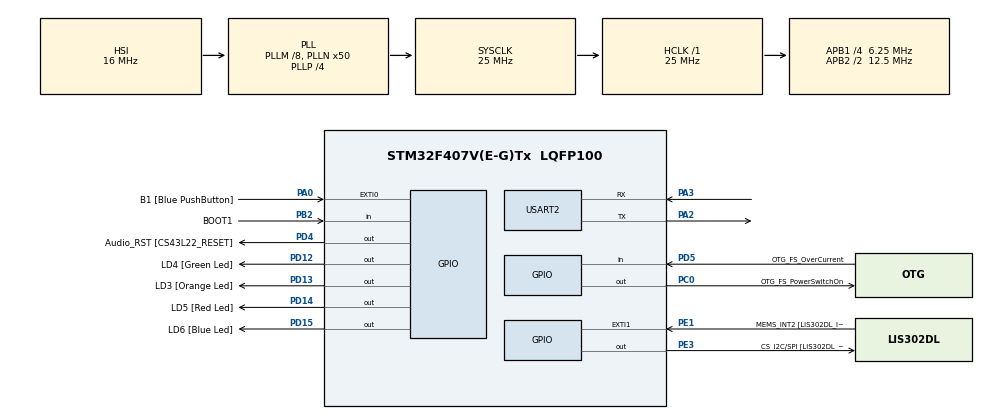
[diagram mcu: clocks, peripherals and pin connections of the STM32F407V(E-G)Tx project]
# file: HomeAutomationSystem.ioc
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Mcu.Family=STM32F4
Mcu.Name=STM32F407V(E-G)Tx
Mcu.Package=LQFP100
NVIC.PriorityGroup=NVIC_PRIORITYGROUP_4
NVIC.TIM6_DAC_IRQn=true\:15\:0\:false\:false\:true\:false\:true\:true
NVIC.TimeBase=TIM6_DAC_IRQn
NVIC.TimeBaseIP=TIM6
NVIC.USART2_IRQn=true\:0\:0\:false\:false\:true\:true\:true\:true
PA0-WKUP.GPIO_Label=B1 [Blue PushButton]
PA0-WKUP.Signal=GPXTI0
PA10.GPIO_Label=OTG_FS_ID
PA10.GPIO_Mode=GPIO_MODE_AF_PP
PA10.GPIO_PuPd=GPIO_NOPULL
PA10.GPIO_Speed=GPIO_SPEED_FREQ_LOW
PA10.Signal=USB_OTG_FS_ID
PA11.GPIO_Label=OTG_FS_DM
PA11.GPIO_Mode=GPIO_MODE_AF_PP
PA11.GPIO_PuPd=GPIO_NOPULL
PA11.GPIO_Speed=GPIO_SPEED_FREQ_LOW
PA11.Signal=USB_OTG_FS_DM
PA12.GPIO_Label=OTG_FS_DP
PA12.GPIO_Mode=GPIO_MODE_AF_PP
PA12.GPIO_PuPd=GPIO_NOPULL
PA12.GPIO_Speed=GPIO_SPEED_FREQ_LOW
PA12.Signal=USB_OTG_FS_DP
PA13.GPIO_Label=SWDIO
PA13.Signal=SYS_JTMS-SWDIO
PA14.GPIO_Label=SWCLK
PA14.Signal=SYS_JTCK-SWCLK
PA2.Mode=Asynchronous
PA2.Signal=USART2_TX
PA3.Mode=Asynchronous
PA3.Signal=USART2_RX
PA4.GPIO_Label=I2S3_WS [CS43L22_LRCK]
PA4.GPIO_Mode=GPIO_MODE_AF_PP
PA4.GPIO_PuPd=GPIO_NOPULL
PA4.GPIO_Speed=GPIO_SPEED_FREQ_LOW
PA4.Signal=I2S3_WS
PA5.GPIO_Label=SPI1_SCK [LIS302DL_SCL/SPC]
PA5.GPIO_Mode=GPIO_MODE_AF_PP
PA5.GPIO_PuPd=GPIO_NOPULL
PA5.GPIO_Speed=GPIO_SPEED_FREQ_LOW
PA5.Signal=SPI1_SCK
PA6.GPIO_Label=SPI1_MISO [LIS302DL_SDO]
PA6.GPIO_Mode=GPIO_MODE_AF_PP
PA6.GPIO_PuPd=GPIO_NOPULL
PA6.GPIO_Speed=GPIO_SPEED_FREQ_LOW
PA6.Signal=SPI1_MISO
PA7.GPIO_Label=SPI1_MOSI [LIS302DL_SDA/SDI/SDO]
PA7.GPIO_Mode=GPIO_MODE_AF_PP
PA7.GPIO_PuPd=GPIO_NOPULL
PA7.GPIO_Speed=GPIO_SPEED_FREQ_LOW
PA7.Signal=SPI1_MOSI
PA9.GPIO_Label=VBUS_FS
PA9.GPIO_Mode=GPIO_MODE_INPUT
PA9.GPIO_PuPd=GPIO_NOPULL
PA9.Signal=USB_OTG_FS_VBUS
PB10.GPIO_Label=CLK_IN [MP45DT02_CLK]
PB10.GPIO_Mode=GPIO_MODE_AF_PP
PB10.GPIO_PuPd=GPIO_NOPULL
PB10.GPIO_Speed=GPIO_SPEED_FREQ_LOW
PB10.Signal=I2S2_CK
PB2.GPIO_Label=BOOT1
PB2.GPIO_Mode=GPIO_MODE_INPUT
PB2.GPIO_PuPd=GPIO_NOPULL
PB2.Signal=GPIO_Input
PB3.GPIO_Label=SWO
PB3.Signal=SYS_JTDO-SWO
PB6.GPIO_Label=Audio_SCL [CS43L22_SCL]
PB6.GPIO_Mode=GPIO_MODE_AF_OD
PB6.GPIO_PuPd=GPIO_NOPULL
PB6.GPIO_Speed=GPIO_SPEED_FREQ_LOW
PB6.Signal=I2C1_SCL
PB9.GPIO_Label=Audio_SDA [CS43L22_SDA]
PB9.GPIO_Mode=GPIO_MODE_AF_OD
PB9.GPIO_PuPd=GPIO_NOPULL
PB9.GPIO_Speed=GPIO_SPEED_FREQ_LOW
PB9.Signal=I2C1_SDA
PC0.GPIO_Label=OTG_FS_PowerSwitchOn
PC0.GPIO_PuPd=GPIO_NOPULL
PC0.GPIO_Speed=GPIO_SPEED_FREQ_LOW
PC0.PinState=GPIO_PIN_SET
PC0.Signal=GPIO_Output
PC10.GPIO_Label=I2S3_SCK [CS43L22_SCLK]
PC10.GPIO_Mode=GPIO_MODE_AF_PP
PC10.GPIO_PuPd=GPIO_NOPULL
PC10.GPIO_Speed=GPIO_SPEED_FREQ_LOW
PC10.Signal=I2S3_CK
PC12.GPIO_Label=I2S3_SD [CS43L22_SDIN]
PC12.GPIO_Mode=GPIO_MODE_AF_PP
PC12.GPIO_PuPd=GPIO_NOPULL
PC12.GPIO_Speed=GPIO_SPEED_FREQ_LOW
PC12.Signal=I2S3_SD
PC14-OSC32_IN.GPIO_Label=PC14-OSC32_IN
PC14-OSC32_IN.Signal=RCC_OSC32_IN
PC15-OSC32_OUT.GPIO_Label=PC15-OSC32_OUT
PC15-OSC32_OUT.Signal=RCC_OSC32_OUT
PC3.GPIO_Label=PDM_OUT [MP45DT02_DOUT]
PC3.GPIO_Mode=GPIO_MODE_AF_PP
PC3.GPIO_PuPd=GPIO_NOPULL
PC3.GPIO_Speed=GPIO_SPEED_FREQ_LOW
PC3.Signal=I2S2_SD
PC7.GPIO_Label=I2S3_MCK [CS43L22_MCLK]
PC7.GPIO_Mode=GPIO_MODE_AF_PP
PC7.GPIO_PuPd=GPIO_NOPULL
PC7.GPIO_Speed=GPIO_SPEED_FREQ_LOW
PC7.Signal=I2S3_MCK
PD12.GPIO_Label=LD4 [Green Led]
PD12.GPIO_PuPd=GPIO_NOPULL
PD12.GPIO_Speed=GPIO_SPEED_FREQ_LOW
PD12.Signal=GPIO_Output
PD13.GPIO_Label=LD3 [Orange Led]
PD13.GPIO_PuPd=GPIO_NOPULL
PD13.GPIO_Speed=GPIO_SPEED_FREQ_LOW
PD13.Signal=GPIO_Output
PD14.GPIO_Label=LD5 [Red Led]
PD14.GPIO_PuPd=GPIO_NOPULL
PD14.GPIO_Speed=GPIO_SPEED_FREQ_LOW
PD14.Signal=GPIO_Output
PD15.GPIO_Label=LD6 [Blue Led]
PD15.GPIO_PuPd=GPIO_NOPULL
PD15.GPIO_Speed=GPIO_SPEED_FREQ_LOW
PD15.Signal=GPIO_Output
PD4.GPIO_Label=Audio_RST [CS43L22_RESET]
PD4.GPIO_PuPd=GPIO_NOPULL
PD4.GPIO_Speed=GPIO_SPEED_FREQ_LOW
PD4.Signal=GPIO_Output
PD5.GPIO_Label=OTG_FS_OverCurrent
PD5.GPIO_Mode=GPIO_MODE_INPUT
PD5.GPIO_PuPd=GPIO_NOPULL
PD5.Signal=GPIO_Input
PE1.GPIO_Label=MEMS_INT2 [LIS302DL_INT2]
PE1.GPIO_ModeDefaultEXTI=GPIO_MODE_EVT_RISING
PE1.GPIO_PuPd=GPIO_NOPULL
PE1.Signal=GPXTI1
PE3.GPIO_Label=CS_I2C/SPI [LIS302DL_CS_I2C/SPI]
PE3.GPIO_PuPd=GPIO_NOPULL
PE3.GPIO_Speed=GPIO_SPEED_FREQ_LOW
PE3.Signal=GPIO_Output
PH0-OSC_IN.GPIO_Label=PH0-OSC_IN
PH0-OSC_IN.Signal=RCC_OSC_IN
PH1-OSC_OUT.GPIO_Label=PH1-OSC_OUT
PH1-OSC_OUT.Signal=RCC_OSC_OUT
ProjectManager.HeapSize=0x200
ProjectManager.StackSize=0x400
ProjectManager.TargetToolchain=STM32CubeIDE
RCC.48MHZClocksFreq_Value=14285714.285714285
RCC.AHBFreq_Value=25000000
RCC.APB1CLKDivider=RCC_HCLK_DIV4
RCC.APB1Freq_Value=6250000
RCC.APB1TimFreq_Value=12500000
RCC.APB2CLKDivider=RCC_HCLK_DIV2
RCC.APB2Freq_Value=12500000
RCC.APB2TimFreq_Value=25000000
RCC.CortexFreq_Value=25000000
RCC.HCLKFreq_Value=25000000
RCC.HSE_VALUE=8000000
RCC.HSI_VALUE=16000000
RCC.LSE_VALUE=32768
RCC.PLLM=8
RCC.PLLN=50
RCC.PLLP=RCC_PLLP_DIV4
RCC.PLLQ=7
RCC.SYSCLKFreq_VALUE=25000000
RCC.SYSCLKSource=RCC_SYSCLKSOURCE_PLLCLK
RCC.VCOOutputFreq_Value=100000000
USART2.VirtualMode=VM_ASYNC
VP_SYS_VS_tim6.Mode=TIM6
board=STM32F407G-DISC1

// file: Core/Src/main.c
/* USER CODE BEGIN Header */
/**
  ******************************************************************************
  * @file           : main.c
  * @brief          : Main program body
  ******************************************************************************
  * @attention
  *
  * Copyright (c) 2022 STMicroelectronics.
  * All rights reserved.
  *
  * This software is licensed under terms that can be found in the LICENSE file
  * in the root directory of this software component.
  * If no LICENSE file comes with this software, it is provided AS-IS.
  *
  ******************************************************************************
  */
/* USER CODE END Header */
#include "main.h"

UART_HandleTypeDef huart2;

/* USER CODE BEGIN PV */
/*===============Task Handlers definition==============*/
TaskHandle_t Appliances_task_handle;
TaskHandle_t Command_task_handle;
TaskHandle_t Menu_display_task_handle;

/*===============Queue Handlers definition==============*/
QueueHandle_t Command_queue;
QueueHandle_t Print_queue;

/*===============Other variables definition==============*/
static volatile uint8_t User_data;
E_TaskStates Curr_state = e_main_menu_state;

/* USER CODE END PV */

void SystemClock_Config(void);
static void MX_GPIO_Init(void);
static void MX_USART2_UART_Init(void);

int main(void)
{
  /* USER CODE BEGIN 1 */
  BaseType_t status;
  HAL_StatusTypeDef uart_status;
  /* USER CODE END 1 */

  /* MCU Configuration--------------------------------------------------------*/

  /* Reset of all peripherals, Initializes the Flash interface and the Systick. */
  HAL_Init();

  /* Configure the system clock */
  SystemClock_Config();

  /* Initialize all configured peripherals */
  MX_GPIO_Init();
  MX_USART2_UART_Init();
  /* USER CODE BEGIN 2 */
  /*===============Creating tasks==============*/
  status = xTaskCreate(Appliances_Handling_Task, "Appliances_Handling", 200, NULL, 2, &Appliances_task_handle);
  configASSERT(pdPASS == status);

  status = xTaskCreate(Command_Handling_Task, "Command_Handling", 200, NULL, 2, &Command_task_handle);
  configASSERT(pdPASS == status);

  status = xTaskCreate(Menu_Display_Handling_Task, "Menu_Display_Handling", 200, NULL, 2, &Menu_display_task_handle);
  configASSERT(pdPASS == status);

  /*===============Creating queues==============*/
  Command_queue = xQueueCreate(10u, sizeof(char));
  configASSERT(NULL != Command_queue);

  Print_queue = xQueueCreate(10u, sizeof(char));
  configASSERT(NULL != Print_queue);

  /*===============Enabling UART reception in IT mode==============*/
  uart_status = HAL_UART_Receive_IT(&huart2, (uint8_t *)&User_data, 1u);
  if(HAL_OK == uart_status)
  {
	  //Do something
  }

  vTaskStartScheduler();
  /* USER CODE END 2 */

  /* Infinite loop */
  while (1)
  {

  }
}

void SystemClock_Config(void)
{
  RCC_OscInitTypeDef RCC_OscInitStruct = {0};
  RCC_ClkInitTypeDef RCC_ClkInitStruct = {0};

  /** Configure the main internal regulator output voltage
  */
  __HAL_RCC_PWR_CLK_ENABLE();
  __HAL_PWR_VOLTAGESCALING_CONFIG(PWR_REGULATOR_VOLTAGE_SCALE1);

  /** Initializes the RCC Oscillators according to the specified parameters
  * in the RCC_OscInitTypeDef structure.
  */
  RCC_OscInitStruct.OscillatorType = RCC_OSCILLATORTYPE_HSI;
  RCC_OscInitStruct.HSIState = RCC_HSI_ON;
  RCC_OscInitStruct.HSICalibrationValue = RCC_HSICALIBRATION_DEFAULT;
  RCC_OscInitStruct.PLL.PLLState = RCC_PLL_ON;
  RCC_OscInitStruct.PLL.PLLSource = RCC_PLLSOURCE_HSI;
  RCC_OscInitStruct.PLL.PLLM = 8;
  RCC_OscInitStruct.PLL.PLLN = 50;
  RCC_OscInitStruct.PLL.PLLP = RCC_PLLP_DIV4;
  RCC_OscInitStruct.PLL.PLLQ = 7;
  if (HAL_RCC_OscConfig(&RCC_OscInitStruct) != HAL_OK)
  {
    Error_Handler();
  }

  /** Initializes the CPU, AHB and APB buses clocks
  */
  RCC_ClkInitStruct.ClockType = RCC_CLOCKTYPE_HCLK|RCC_CLOCKTYPE_SYSCLK
                              |RCC_CLOCKTYPE_PCLK1|RCC_CLOCKTYPE_PCLK2;
  RCC_ClkInitStruct.SYSCLKSource = RCC_SYSCLKSOURCE_PLLCLK;
  RCC_ClkInitStruct.AHBCLKDivider = RCC_SYSCLK_DIV1;
  RCC_ClkInitStruct.APB1CLKDivider = RCC_HCLK_DIV4;
  RCC_ClkInitStruct.APB2CLKDivider = RCC_HCLK_DIV2;

  if (HAL_RCC_ClockConfig(&RCC_ClkInitStruct, FLASH_LATENCY_0) != HAL_OK)
  {
    Error_Handler();
  }
}

static void MX_USART2_UART_Init(void)
{

  huart2.Instance = USART2;
  huart2.Init.BaudRate = 115200;
  huart2.Init.WordLength = UART_WORDLENGTH_8B;
  huart2.Init.StopBits = UART_STOPBITS_1;
  huart2.Init.Parity = UART_PARITY_NONE;
  huart2.Init.Mode = UART_MODE_TX_RX;
  huart2.Init.HwFlowCtl = UART_HWCONTROL_NONE;
  huart2.Init.OverSampling = UART_OVERSAMPLING_16;
  if (HAL_UART_Init(&huart2) != HAL_OK)
  {
    Error_Handler();
  }

}

static void MX_GPIO_Init(void)
{
  GPIO_InitTypeDef GPIO_InitStruct = {0};

  /* GPIO Ports Clock Enable */
  __HAL_RCC_GPIOE_CLK_ENABLE();
  __HAL_RCC_GPIOC_CLK_ENABLE();
  __HAL_RCC_GPIOH_CLK_ENABLE();
  __HAL_RCC_GPIOA_CLK_ENABLE();
  __HAL_RCC_GPIOB_CLK_ENABLE();
  __HAL_RCC_GPIOD_CLK_ENABLE();

  /*Configure GPIO pin Output Level */
  HAL_GPIO_WritePin(CS_I2C_SPI_GPIO_Port, CS_I2C_SPI_Pin, GPIO_PIN_RESET);

  /*Configure GPIO pin Output Level */
  HAL_GPIO_WritePin(OTG_FS_PowerSwitchOn_GPIO_Port, OTG_FS_PowerSwitchOn_Pin, GPIO_PIN_SET);

  /*Configure GPIO pin Output Level */
  HAL_GPIO_WritePin(GPIOD, LD4_Pin|LD3_Pin|LD5_Pin|LD6_Pin
                          |Audio_RST_Pin, GPIO_PIN_RESET);

  /*Configure GPIO pin : CS_I2C_SPI_Pin */
  GPIO_InitStruct.Pin = CS_I2C_SPI_Pin;
  GPIO_InitStruct.Mode = GPIO_MODE_OUTPUT_PP;
  GPIO_InitStruct.Pull = GPIO_NOPULL;
  GPIO_InitStruct.Speed = GPIO_SPEED_FREQ_LOW;
  HAL_GPIO_Init(CS_I2C_SPI_GPIO_Port, &GPIO_InitStruct);

  /*Configure GPIO pin : OTG_FS_PowerSwitchOn_Pin */
  GPIO_InitStruct.Pin = OTG_FS_PowerSwitchOn_Pin;
  GPIO_InitStruct.Mode = GPIO_MODE_OUTPUT_PP;
  GPIO_InitStruct.Pull = GPIO_NOPULL;
  GPIO_InitStruct.Speed = GPIO_SPEED_FREQ_LOW;
  HAL_GPIO_Init(OTG_FS_PowerSwitchOn_GPIO_Port, &GPIO_InitStruct);

  /*Configure GPIO pin : PDM_OUT_Pin */
  GPIO_InitStruct.Pin = PDM_OUT_Pin;
  GPIO_InitStruct.Mode = GPIO_MODE_AF_PP;
  GPIO_InitStruct.Pull = GPIO_NOPULL;
  GPIO_InitStruct.Speed = GPIO_SPEED_FREQ_LOW;
  GPIO_InitStruct.Alternate = GPIO_AF5_SPI2;
  HAL_GPIO_Init(PDM_OUT_GPIO_Port, &GPIO_InitStruct);

  /*Configure GPIO pin : B1_Pin */
  GPIO_InitStruct.Pin = B1_Pin;
  GPIO_InitStruct.Mode = GPIO_MODE_IT_RISING;
  GPIO_InitStruct.Pull = GPIO_NOPULL;
  HAL_GPIO_Init(B1_GPIO_Port, &GPIO_InitStruct);

  /*Configure GPIO pin : I2S3_WS_Pin */
  GPIO_InitStruct.Pin = I2S3_WS_Pin;
  GPIO_InitStruct.Mode = GPIO_MODE_AF_PP;
  GPIO_InitStruct.Pull = GPIO_NOPULL;
  GPIO_InitStruct.Speed = GPIO_SPEED_FREQ_LOW;
  GPIO_InitStruct.Alternate = GPIO_AF6_SPI3;
  HAL_GPIO_Init(I2S3_WS_GPIO_Port, &GPIO_InitStruct);

  /*Configure GPIO pins : SPI1_SCK_Pin SPI1_MISO_Pin SPI1_MOSI_Pin */
  GPIO_InitStruct.Pin = SPI1_SCK_Pin|SPI1_MISO_Pin|SPI1_MOSI_Pin;
  GPIO_InitStruct.Mode = GPIO_MODE_AF_PP;
  GPIO_InitStruct.Pull = GPIO_NOPULL;
  GPIO_InitStruct.Speed = GPIO_SPEED_FREQ_LOW;
  GPIO_InitStruct.Alternate = GPIO_AF5_SPI1;
  HAL_GPIO_Init(GPIOA, &GPIO_InitStruct);

  /*Configure GPIO pin : BOOT1_Pin */
  GPIO_InitStruct.Pin = BOOT1_Pin;
  GPIO_InitStruct.Mode = GPIO_MODE_INPUT;
  GPIO_InitStruct.Pull = GPIO_NOPULL;
  HAL_GPIO_Init(BOOT1_GPIO_Port, &GPIO_InitStruct);

  /*Configure GPIO pin : CLK_IN_Pin */
  GPIO_InitStruct.Pin = CLK_IN_Pin;
  GPIO_InitStruct.Mode = GPIO_MODE_AF_PP;
  GPIO_InitStruct.Pull = GPIO_NOPULL;
  GPIO_InitStruct.Speed = GPIO_SPEED_FREQ_LOW;
  GPIO_InitStruct.Alternate = GPIO_AF5_SPI2;
  HAL_GPIO_Init(CLK_IN_GPIO_Port, &GPIO_InitStruct);

  /*Configure GPIO pins : LD4_Pin LD3_Pin LD5_Pin LD6_Pin
                           Audio_RST_Pin */
  GPIO_InitStruct.Pin = LD4_Pin|LD3_Pin|LD5_Pin|LD6_Pin
                          |Audio_RST_Pin;
  GPIO_InitStruct.Mode = GPIO_MODE_OUTPUT_PP;
  GPIO_InitStruct.Pull = GPIO_NOPULL;
  GPIO_InitStruct.Speed = GPIO_SPEED_FREQ_LOW;
  HAL_GPIO_Init(GPIOD, &GPIO_InitStruct);

  /*Configure GPIO pins : I2S3_MCK_Pin I2S3_SCK_Pin I2S3_SD_Pin */
  GPIO_InitStruct.Pin = I2S3_MCK_Pin|I2S3_SCK_Pin|I2S3_SD_Pin;
  GPIO_InitStruct.Mode = GPIO_MODE_AF_PP;
  GPIO_InitStruct.Pull = GPIO_NOPULL;
  GPIO_InitStruct.Speed = GPIO_SPEED_FREQ_LOW;
  GPIO_InitStruct.Alternate = GPIO_AF6_SPI3;
  HAL_GPIO_Init(GPIOC, &GPIO_InitStruct);

  /*Configure GPIO pin : VBUS_FS_Pin */
  GPIO_InitStruct.Pin = VBUS_FS_Pin;
  GPIO_InitStruct.Mode = GPIO_MODE_INPUT;
  GPIO_InitStruct.Pull = GPIO_NOPULL;
  HAL_GPIO_Init(VBUS_FS_GPIO_Port, &GPIO_InitStruct);

  /*Configure GPIO pins : OTG_FS_ID_Pin OTG_FS_DM_Pin OTG_FS_DP_Pin */
  GPIO_InitStruct.Pin = OTG_FS_ID_Pin|OTG_FS_DM_Pin|OTG_FS_DP_Pin;
  GPIO_InitStruct.Mode = GPIO_MODE_AF_PP;
  GPIO_InitStruct.Pull = GPIO_NOPULL;
  GPIO_InitStruct.Speed = GPIO_SPEED_FREQ_LOW;
  GPIO_InitStruct.Alternate = GPIO_AF10_OTG_FS;
  HAL_GPIO_Init(GPIOA, &GPIO_InitStruct);

  /*Configure GPIO pin : OTG_FS_OverCurrent_Pin */
  GPIO_InitStruct.Pin = OTG_FS_OverCurrent_Pin;
  GPIO_InitStruct.Mode = GPIO_MODE_INPUT;
  GPIO_InitStruct.Pull = GPIO_NOPULL;
  HAL_GPIO_Init(OTG_FS_OverCurrent_GPIO_Port, &GPIO_InitStruct);

  /*Configure GPIO pins : Audio_SCL_Pin Audio_SDA_Pin */
  GPIO_InitStruct.Pin = Audio_SCL_Pin|Audio_SDA_Pin;
  GPIO_InitStruct.Mode = GPIO_MODE_AF_OD;
  GPIO_InitStruct.Pull = GPIO_NOPULL;
  GPIO_InitStruct.Speed = GPIO_SPEED_FREQ_LOW;
  GPIO_InitStruct.Alternate = GPIO_AF4_I2C1;
  HAL_GPIO_Init(GPIOB, &GPIO_InitStruct);

  /*Configure GPIO pin : MEMS_INT2_Pin */
  GPIO_InitStruct.Pin = MEMS_INT2_Pin;
  GPIO_InitStruct.Mode = GPIO_MODE_EVT_RISING;
  GPIO_InitStruct.Pull = GPIO_NOPULL;
  HAL_GPIO_Init(MEMS_INT2_GPIO_Port, &GPIO_InitStruct);

}

/* USER CODE BEGIN 4 */
/*========================================
 * Return Value : None
 * Parameters : UART handler pointer
 * Description : This callback function shall be called each time a data byte is received over UART interrupt.
 * ========================================*/
void HAL_UART_RxCpltCallback(UART_HandleTypeDef *huart)
{
	uint8_t dummy_data;
	BaseType_t status;
	HAL_StatusTypeDef uart_status;
	/*Check if command queue is full*/
	if(pdTRUE == xQueueIsQueueFullFromISR(Command_queue))
	{
		/*If queue is full and last received byte represents new line which means end of command*/
		if(User_data == '\n')
		{
			/*last data byte is taken out and new line character is put at last spot*/
			status = xQueueReceiveFromISR(Command_queue, (void *)&dummy_data, NULL);
			if(pdPASS == status)
			{
				status = xQueueSendFromISR(Command_queue, (void *)&User_data, NULL);
				if(pdPASS != status)
				{
					//Do something
				}
			}
			else
			{
				//do something
			}
		}
	}
	else
	{
		/*Just enqueue the data byte if queue is not full*/
		status = xQueueSendFromISR(Command_queue, (void *)&User_data, NULL);
		if(pdPASS != status)
		{
			//Do something
		}
	}
	if(User_data == '\n')
	{
		/*Once whole command has been received, send a notification to command handling task to handle the command received*/
		status = xTaskNotifyFromISR(Command_task_handle, 0, eNoAction, NULL);
		if(pdPASS != status)
		{
			//Do something
		}
	}
	/*Enable the UART reception for next byte in interrupt mode*/
	uart_status = HAL_UART_Receive_IT(&huart2, (uint8_t *)&User_data, 1u);
	if(HAL_OK == uart_status)
	{
	  //Do something
	}
}
/* USER CODE END 4 */

void HAL_TIM_PeriodElapsedCallback(TIM_HandleTypeDef *htim)
{
  if (htim->Instance == TIM6) {
    HAL_IncTick();
  }
}

void Error_Handler(void)
{
  __disable_irq();
  while (1)
  {
  }
}
